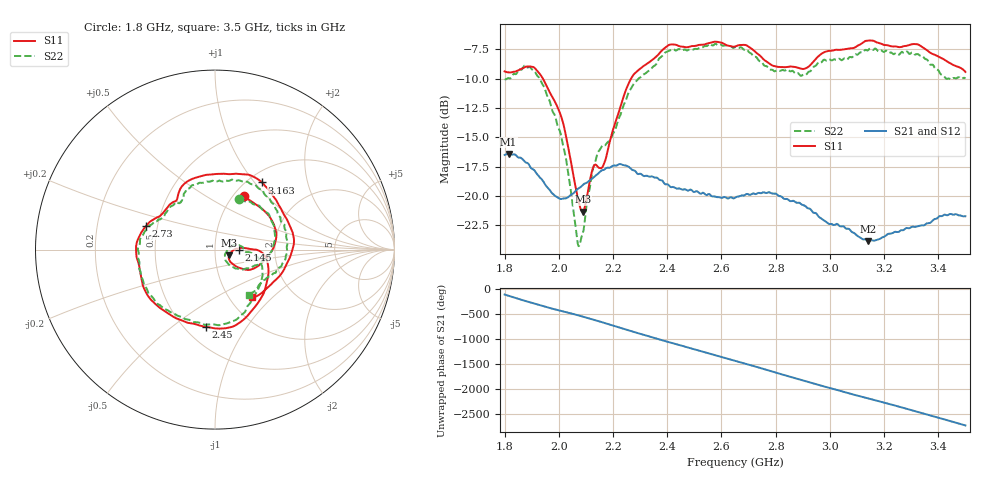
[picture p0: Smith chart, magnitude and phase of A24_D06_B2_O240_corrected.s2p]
! Created with skrf 1.9.0 (http://scikit-rf.org).
# Hz S RI R 50.0
!freq ReS11 ImS11 ReS21 ImS21 ReS12 ImS12 ReS22 ImS22
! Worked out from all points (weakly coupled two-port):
!   1601 points, 1.8 GHz to 3.5 GHz, reference 50 ohm
!   highest |S21| = -16.42 dB at 1.815 GHz (marker M1); lowest = -23.8 dB at 3.142 GHz (marker M2)
!   lowest |S11| = -21.3 dB at 2.088 GHz (marker M3), VSWR 1.19, Z = 58.6 - j3.72 ohm
!   |S11| at or under -10 dB: 1.941 GHz to 2.267 GHz (325.3 MHz wide, 15.5 % of centre)
!   |S22| runs from -24.3 to -7.0 dB; largest |S21 - S12| = 0.0025
!   S11 on the Smith chart (normalised r, x): 1.8 GHz: 1.12, +0.75; 2.145 GHz: 1.31, +0.00; 2.45 GHz: 0.63, -0.67; 2.73 GHz: 0.43, +0.14; 3.163 GHz: 1.16, +1.09; 3.5 GHz: 1.27, -0.76
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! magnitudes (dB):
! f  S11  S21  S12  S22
! 1.8 GHz  -9.4  -16.5  -16.5  -10.0
! 1.815 GHz  -9.5  -16.4  -16.4  -10.0
! 1.881 GHz  -9.0  -17.2  -17.2  -9.0
! 1.943 GHz  -10.1  -18.8  -18.8  -10.6
! 2.011 GHz  -13.4  -20.2  -20.2  -15.2
! 2.068 GHz  -19.9  -19.4  -19.4  -23.7
! 2.084 GHz  -21.3  -19.2  -19.1  -23.5
! 2.088 GHz  -21.3  -19.1  -19.1  -23.2
! 2.125 GHz  -17.7  -18.5  -18.5  -17.7
! 2.145 GHz  -17.5  -18.1  -18.1  -16.2
! 2.168 GHz  -17.2  -17.8  -17.8  -15.7
! 2.264 GHz  -10.1  -17.6  -17.6  -10.9
! 2.367 GHz  -7.9  -18.5  -18.5  -8.4
! 2.45 GHz  -7.3  -19.4  -19.4  -7.6
! 2.65 GHz  -7.3  -20.1  -20.1  -7.3
! 2.73 GHz  -7.8  -19.8  -19.8  -8.2
! 2.934 GHz  -8.7  -21.3  -21.3  -9.2
! 3.142 GHz  -6.8  -23.8  -23.7  -7.6
! 3.163 GHz  -6.8  -23.8  -23.7  -7.5
! 3.217 GHz  -7.2  -23.2  -23.2  -7.8
! 3.324 GHz  -7.1  -22.6  -22.5  -7.9
! 3.5 GHz  -9.4  -21.7  -21.7  -10.0
